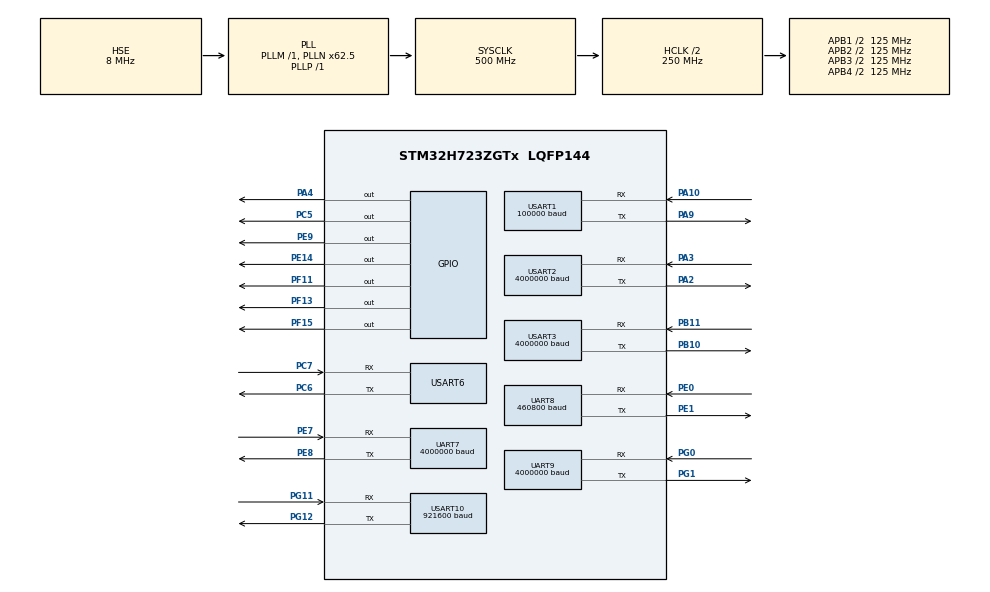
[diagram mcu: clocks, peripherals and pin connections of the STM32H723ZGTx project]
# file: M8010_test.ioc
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CORTEX_M7.default_mode_Activation=1
Dma.Request0=USART3_RX
Dma.Request1=USART3_TX
Dma.Request10=USART1_RX
Dma.Request11=USART1_TX
Dma.Request12=UART8_RX
Dma.Request13=USART10_RX
Dma.Request14=USART10_TX
Dma.Request2=USART2_RX
Dma.Request3=USART2_TX
Dma.Request4=UART9_RX
Dma.Request5=UART9_TX
Dma.Request6=UART7_RX
Dma.Request7=UART7_TX
Dma.Request8=USART6_RX
Dma.Request9=USART6_TX
Dma.UART7_RX.6.Direction=DMA_PERIPH_TO_MEMORY
Dma.UART7_RX.6.EventEnable=DISABLE
Dma.UART7_RX.6.FIFOMode=DMA_FIFOMODE_DISABLE
Dma.UART7_RX.6.Instance=DMA1_Stream6
Dma.UART7_RX.6.MemDataAlignment=DMA_MDATAALIGN_BYTE
Dma.UART7_RX.6.MemInc=DMA_MINC_ENABLE
Dma.UART7_RX.6.Mode=DMA_NORMAL
Dma.UART7_RX.6.PeriphDataAlignment=DMA_PDATAALIGN_BYTE
Dma.UART7_RX.6.PeriphInc=DMA_PINC_DISABLE
Dma.UART7_RX.6.Polarity=HAL_DMAMUX_REQ_GEN_RISING
Dma.UART7_RX.6.Priority=DMA_PRIORITY_LOW
Dma.UART7_RX.6.RequestNumber=1
Dma.UART7_RX.6.SignalID=NONE
Dma.UART7_RX.6.SyncEnable=DISABLE
Dma.UART7_RX.6.SyncPolarity=HAL_DMAMUX_SYNC_NO_EVENT
Dma.UART7_RX.6.SyncRequestNumber=1
Dma.UART7_RX.6.SyncSignalID=NONE
Dma.UART7_TX.7.Direction=DMA_MEMORY_TO_PERIPH
Dma.UART7_TX.7.EventEnable=DISABLE
Dma.UART7_TX.7.FIFOMode=DMA_FIFOMODE_DISABLE
Dma.UART7_TX.7.Instance=DMA1_Stream7
Dma.UART7_TX.7.MemDataAlignment=DMA_MDATAALIGN_BYTE
Dma.UART7_TX.7.MemInc=DMA_MINC_ENABLE
Dma.UART7_TX.7.Mode=DMA_NORMAL
Dma.UART7_TX.7.PeriphDataAlignment=DMA_PDATAALIGN_BYTE
Dma.UART7_TX.7.PeriphInc=DMA_PINC_DISABLE
Dma.UART7_TX.7.Polarity=HAL_DMAMUX_REQ_GEN_RISING
Dma.UART7_TX.7.Priority=DMA_PRIORITY_LOW
Dma.UART7_TX.7.RequestNumber=1
Dma.UART7_TX.7.SignalID=NONE
Dma.UART7_TX.7.SyncEnable=DISABLE
Dma.UART7_TX.7.SyncPolarity=HAL_DMAMUX_SYNC_NO_EVENT
Dma.UART7_TX.7.SyncRequestNumber=1
Dma.UART7_TX.7.SyncSignalID=NONE
Dma.UART8_RX.12.Direction=DMA_PERIPH_TO_MEMORY
Dma.UART8_RX.12.EventEnable=DISABLE
Dma.UART8_RX.12.FIFOMode=DMA_FIFOMODE_DISABLE
Dma.UART8_RX.12.Instance=DMA2_Stream4
Dma.UART8_RX.12.MemDataAlignment=DMA_MDATAALIGN_BYTE
Dma.UART8_RX.12.MemInc=DMA_MINC_ENABLE
Dma.UART8_RX.12.Mode=DMA_NORMAL
Dma.UART8_RX.12.PeriphDataAlignment=DMA_PDATAALIGN_BYTE
Dma.UART8_RX.12.PeriphInc=DMA_PINC_DISABLE
Dma.UART8_RX.12.Polarity=HAL_DMAMUX_REQ_GEN_RISING
Dma.UART8_RX.12.Priority=DMA_PRIORITY_LOW
Dma.UART8_RX.12.RequestNumber=1
Dma.UART8_RX.12.SignalID=NONE
Dma.UART8_RX.12.SyncEnable=DISABLE
Dma.UART8_RX.12.SyncPolarity=HAL_DMAMUX_SYNC_NO_EVENT
Dma.UART8_RX.12.SyncRequestNumber=1
Dma.UART8_RX.12.SyncSignalID=NONE
Dma.UART9_RX.4.Direction=DMA_PERIPH_TO_MEMORY
Dma.UART9_RX.4.EventEnable=DISABLE
Dma.UART9_RX.4.FIFOMode=DMA_FIFOMODE_DISABLE
Dma.UART9_RX.4.Instance=DMA1_Stream4
Dma.UART9_RX.4.MemDataAlignment=DMA_MDATAALIGN_BYTE
Dma.UART9_RX.4.MemInc=DMA_MINC_ENABLE
Dma.UART9_RX.4.Mode=DMA_NORMAL
Dma.UART9_RX.4.PeriphDataAlignment=DMA_PDATAALIGN_BYTE
Dma.UART9_RX.4.PeriphInc=DMA_PINC_DISABLE
Dma.UART9_RX.4.Polarity=HAL_DMAMUX_REQ_GEN_RISING
Dma.UART9_RX.4.Priority=DMA_PRIORITY_LOW
Dma.UART9_RX.4.RequestNumber=1
Dma.UART9_RX.4.SignalID=NONE
Dma.UART9_RX.4.SyncEnable=DISABLE
Dma.UART9_RX.4.SyncPolarity=HAL_DMAMUX_SYNC_NO_EVENT
Dma.UART9_RX.4.SyncRequestNumber=1
Dma.UART9_RX.4.SyncSignalID=NONE
Dma.UART9_TX.5.Direction=DMA_MEMORY_TO_PERIPH
Dma.UART9_TX.5.EventEnable=DISABLE
Dma.UART9_TX.5.FIFOMode=DMA_FIFOMODE_DISABLE
Dma.UART9_TX.5.Instance=DMA1_Stream5
Dma.UART9_TX.5.MemDataAlignment=DMA_MDATAALIGN_BYTE
Dma.UART9_TX.5.MemInc=DMA_MINC_ENABLE
Dma.UART9_TX.5.Mode=DMA_NORMAL
Dma.UART9_TX.5.PeriphDataAlignment=DMA_PDATAALIGN_BYTE
Dma.UART9_TX.5.PeriphInc=DMA_PINC_DISABLE
Dma.UART9_TX.5.Polarity=HAL_DMAMUX_REQ_GEN_RISING
Dma.UART9_TX.5.Priority=DMA_PRIORITY_LOW
Dma.UART9_TX.5.RequestNumber=1
Dma.UART9_TX.5.SignalID=NONE
Dma.UART9_TX.5.SyncEnable=DISABLE
Dma.UART9_TX.5.SyncPolarity=HAL_DMAMUX_SYNC_NO_EVENT
Dma.UART9_TX.5.SyncRequestNumber=1
Dma.UART9_TX.5.SyncSignalID=NONE
Dma.USART10_RX.13.Direction=DMA_PERIPH_TO_MEMORY
Dma.USART10_RX.13.EventEnable=DISABLE
Dma.USART10_RX.13.FIFOMode=DMA_FIFOMODE_DISABLE
Dma.USART10_RX.13.Instance=DMA2_Stream5
Dma.USART10_RX.13.MemDataAlignment=DMA_MDATAALIGN_BYTE
Dma.USART10_RX.13.MemInc=DMA_MINC_ENABLE
Dma.USART10_RX.13.Mode=DMA_NORMAL
Dma.USART10_RX.13.PeriphDataAlignment=DMA_PDATAALIGN_BYTE
Dma.USART10_RX.13.PeriphInc=DMA_PINC_DISABLE
Dma.USART10_RX.13.Polarity=HAL_DMAMUX_REQ_GEN_RISING
Dma.USART10_RX.13.Priority=DMA_PRIORITY_LOW
Dma.USART10_RX.13.RequestNumber=1
Dma.USART10_RX.13.SignalID=NONE
Dma.USART10_RX.13.SyncEnable=DISABLE
Dma.USART10_RX.13.SyncPolarity=HAL_DMAMUX_SYNC_NO_EVENT
Dma.USART10_RX.13.SyncRequestNumber=1
Dma.USART10_RX.13.SyncSignalID=NONE
Dma.USART10_TX.14.Direction=DMA_MEMORY_TO_PERIPH
Dma.USART10_TX.14.EventEnable=DISABLE
Dma.USART10_TX.14.FIFOMode=DMA_FIFOMODE_DISABLE
Dma.USART10_TX.14.Instance=DMA2_Stream6
Dma.USART10_TX.14.MemDataAlignment=DMA_MDATAALIGN_BYTE
Dma.USART10_TX.14.MemInc=DMA_MINC_ENABLE
Dma.USART10_TX.14.Mode=DMA_NORMAL
Dma.USART10_TX.14.PeriphDataAlignment=DMA_PDATAALIGN_BYTE
Dma.USART10_TX.14.PeriphInc=DMA_PINC_DISABLE
Dma.USART10_TX.14.Polarity=HAL_DMAMUX_REQ_GEN_RISING
Dma.USART10_TX.14.Priority=DMA_PRIORITY_LOW
Dma.USART10_TX.14.RequestNumber=1
Dma.USART10_TX.14.SignalID=NONE
Dma.USART10_TX.14.SyncEnable=DISABLE
Dma.USART10_TX.14.SyncPolarity=HAL_DMAMUX_SYNC_NO_EVENT
Dma.USART10_TX.14.SyncRequestNumber=1
Dma.USART10_TX.14.SyncSignalID=NONE
Dma.USART1_RX.10.Direction=DMA_PERIPH_TO_MEMORY
Dma.USART1_RX.10.EventEnable=DISABLE
Dma.USART1_RX.10.FIFOMode=DMA_FIFOMODE_DISABLE
Dma.USART1_RX.10.Instance=DMA2_Stream2
Dma.USART1_RX.10.MemDataAlignment=DMA_MDATAALIGN_BYTE
Dma.USART1_RX.10.MemInc=DMA_MINC_ENABLE
Dma.USART1_RX.10.Mode=DMA_NORMAL
Dma.USART1_RX.10.PeriphDataAlignment=DMA_PDATAALIGN_BYTE
Dma.USART1_RX.10.PeriphInc=DMA_PINC_DISABLE
Dma.USART1_RX.10.Polarity=HAL_DMAMUX_REQ_GEN_RISING
Dma.USART1_RX.10.Priority=DMA_PRIORITY_LOW
Dma.USART1_RX.10.RequestNumber=1
Dma.USART1_RX.10.SignalID=NONE
Dma.USART1_RX.10.SyncEnable=DISABLE
Dma.USART1_RX.10.SyncPolarity=HAL_DMAMUX_SYNC_NO_EVENT
Dma.USART1_RX.10.SyncRequestNumber=1
Dma.USART1_RX.10.SyncSignalID=NONE
Dma.USART1_TX.11.Direction=DMA_MEMORY_TO_PERIPH
Dma.USART1_TX.11.EventEnable=DISABLE
Dma.USART1_TX.11.FIFOMode=DMA_FIFOMODE_DISABLE
Dma.USART1_TX.11.Instance=DMA2_Stream3
Dma.USART1_TX.11.MemDataAlignment=DMA_MDATAALIGN_BYTE
Dma.USART1_TX.11.MemInc=DMA_MINC_ENABLE
Dma.USART1_TX.11.Mode=DMA_NORMAL
Dma.USART1_TX.11.PeriphDataAlignment=DMA_PDATAALIGN_BYTE
Dma.USART1_TX.11.PeriphInc=DMA_PINC_DISABLE
Dma.USART1_TX.11.Polarity=HAL_DMAMUX_REQ_GEN_RISING
Dma.USART1_TX.11.Priority=DMA_PRIORITY_LOW
Dma.USART1_TX.11.RequestNumber=1
Dma.USART1_TX.11.SignalID=NONE
Dma.USART1_TX.11.SyncEnable=DISABLE
Dma.USART1_TX.11.SyncPolarity=HAL_DMAMUX_SYNC_NO_EVENT
Dma.USART1_TX.11.SyncRequestNumber=1
Dma.USART1_TX.11.SyncSignalID=NONE
Dma.USART2_RX.2.Direction=DMA_PERIPH_TO_MEMORY
Dma.USART2_RX.2.EventEnable=DISABLE
Dma.USART2_RX.2.FIFOMode=DMA_FIFOMODE_DISABLE
Dma.USART2_RX.2.Instance=DMA1_Stream2
Dma.USART2_RX.2.MemDataAlignment=DMA_MDATAALIGN_BYTE
Dma.USART2_RX.2.MemInc=DMA_MINC_ENABLE
Dma.USART2_RX.2.Mode=DMA_NORMAL
Dma.USART2_RX.2.PeriphDataAlignment=DMA_PDATAALIGN_BYTE
Dma.USART2_RX.2.PeriphInc=DMA_PINC_DISABLE
Dma.USART2_RX.2.Polarity=HAL_DMAMUX_REQ_GEN_RISING
Dma.USART2_RX.2.Priority=DMA_PRIORITY_LOW
Dma.USART2_RX.2.RequestNumber=1
Dma.USART2_RX.2.SignalID=NONE
Dma.USART2_RX.2.SyncEnable=DISABLE
Dma.USART2_RX.2.SyncPolarity=HAL_DMAMUX_SYNC_NO_EVENT
Dma.USART2_RX.2.SyncRequestNumber=1
Dma.USART2_RX.2.SyncSignalID=NONE
Dma.USART2_TX.3.Direction=DMA_MEMORY_TO_PERIPH
Dma.USART2_TX.3.EventEnable=DISABLE
Dma.USART2_TX.3.FIFOMode=DMA_FIFOMODE_DISABLE
Dma.USART2_TX.3.Instance=DMA1_Stream3
Dma.USART2_TX.3.MemDataAlignment=DMA_MDATAALIGN_BYTE
Dma.USART2_TX.3.MemInc=DMA_MINC_ENABLE
Dma.USART2_TX.3.Mode=DMA_NORMAL
Dma.USART2_TX.3.PeriphDataAlignment=DMA_PDATAALIGN_BYTE
Dma.USART2_TX.3.PeriphInc=DMA_PINC_DISABLE
Dma.USART2_TX.3.Polarity=HAL_DMAMUX_REQ_GEN_RISING
Dma.USART2_TX.3.Priority=DMA_PRIORITY_LOW
Dma.USART2_TX.3.RequestNumber=1
Dma.USART2_TX.3.SignalID=NONE
Dma.USART2_TX.3.SyncEnable=DISABLE
Dma.USART2_TX.3.SyncPolarity=HAL_DMAMUX_SYNC_NO_EVENT
Dma.USART2_TX.3.SyncRequestNumber=1
Dma.USART2_TX.3.SyncSignalID=NONE
Dma.USART3_RX.0.Direction=DMA_PERIPH_TO_MEMORY
Dma.USART3_RX.0.EventEnable=DISABLE
Dma.USART3_RX.0.FIFOMode=DMA_FIFOMODE_DISABLE
Dma.USART3_RX.0.Instance=DMA1_Stream0
Dma.USART3_RX.0.MemDataAlignment=DMA_MDATAALIGN_BYTE
Dma.USART3_RX.0.MemInc=DMA_MINC_ENABLE
Dma.USART3_RX.0.Mode=DMA_NORMAL
Dma.USART3_RX.0.PeriphDataAlignment=DMA_PDATAALIGN_BYTE
Dma.USART3_RX.0.PeriphInc=DMA_PINC_DISABLE
Dma.USART3_RX.0.Polarity=HAL_DMAMUX_REQ_GEN_RISING
Dma.USART3_RX.0.Priority=DMA_PRIORITY_LOW
Dma.USART3_RX.0.RequestNumber=1
Dma.USART3_RX.0.SignalID=NONE
Dma.USART3_RX.0.SyncEnable=DISABLE
Dma.USART3_RX.0.SyncPolarity=HAL_DMAMUX_SYNC_NO_EVENT
Dma.USART3_RX.0.SyncRequestNumber=1
Dma.USART3_RX.0.SyncSignalID=NONE
Dma.USART3_TX.1.Direction=DMA_MEMORY_TO_PERIPH
Dma.USART3_TX.1.EventEnable=DISABLE
Dma.USART3_TX.1.FIFOMode=DMA_FIFOMODE_DISABLE
Dma.USART3_TX.1.Instance=DMA1_Stream1
Dma.USART3_TX.1.MemDataAlignment=DMA_MDATAALIGN_BYTE
Dma.USART3_TX.1.MemInc=DMA_MINC_ENABLE
Dma.USART3_TX.1.Mode=DMA_NORMAL
Dma.USART3_TX.1.PeriphDataAlignment=DMA_PDATAALIGN_BYTE
Dma.USART3_TX.1.PeriphInc=DMA_PINC_DISABLE
Dma.USART3_TX.1.Polarity=HAL_DMAMUX_REQ_GEN_RISING
Dma.USART3_TX.1.Priority=DMA_PRIORITY_LOW
Dma.USART3_TX.1.RequestNumber=1
Dma.USART3_TX.1.SignalID=NONE
Dma.USART3_TX.1.SyncEnable=DISABLE
Dma.USART3_TX.1.SyncPolarity=HAL_DMAMUX_SYNC_NO_EVENT
Dma.USART3_TX.1.SyncRequestNumber=1
Dma.USART3_TX.1.SyncSignalID=NONE
Dma.USART6_RX.8.Direction=DMA_PERIPH_TO_MEMORY
Dma.USART6_RX.8.EventEnable=DISABLE
Dma.USART6_RX.8.FIFOMode=DMA_FIFOMODE_DISABLE
Dma.USART6_RX.8.Instance=DMA2_Stream0
Dma.USART6_RX.8.MemDataAlignment=DMA_MDATAALIGN_BYTE
Dma.USART6_RX.8.MemInc=DMA_MINC_ENABLE
Dma.USART6_RX.8.Mode=DMA_NORMAL
Dma.USART6_RX.8.PeriphDataAlignment=DMA_PDATAALIGN_BYTE
Dma.USART6_RX.8.PeriphInc=DMA_PINC_DISABLE
Dma.USART6_RX.8.Polarity=HAL_DMAMUX_REQ_GEN_RISING
Dma.USART6_RX.8.Priority=DMA_PRIORITY_LOW
Dma.USART6_RX.8.RequestNumber=1
Dma.USART6_RX.8.SignalID=NONE
Dma.USART6_RX.8.SyncEnable=DISABLE
Dma.USART6_RX.8.SyncPolarity=HAL_DMAMUX_SYNC_NO_EVENT
Dma.USART6_RX.8.SyncRequestNumber=1
Dma.USART6_RX.8.SyncSignalID=NONE
Dma.USART6_TX.9.Direction=DMA_MEMORY_TO_PERIPH
Dma.USART6_TX.9.EventEnable=DISABLE
Dma.USART6_TX.9.FIFOMode=DMA_FIFOMODE_DISABLE
Dma.USART6_TX.9.Instance=DMA2_Stream1
Dma.USART6_TX.9.MemDataAlignment=DMA_MDATAALIGN_BYTE
Dma.USART6_TX.9.MemInc=DMA_MINC_ENABLE
Dma.USART6_TX.9.Mode=DMA_NORMAL
Dma.USART6_TX.9.PeriphDataAlignment=DMA_PDATAALIGN_BYTE
Dma.USART6_TX.9.PeriphInc=DMA_PINC_DISABLE
Dma.USART6_TX.9.Polarity=HAL_DMAMUX_REQ_GEN_RISING
Dma.USART6_TX.9.Priority=DMA_PRIORITY_LOW
Dma.USART6_TX.9.RequestNumber=1
Dma.USART6_TX.9.SignalID=NONE
Dma.USART6_TX.9.SyncEnable=DISABLE
Dma.USART6_TX.9.SyncPolarity=HAL_DMAMUX_SYNC_NO_EVENT
Dma.USART6_TX.9.SyncRequestNumber=1
Dma.USART6_TX.9.SyncSignalID=NONE
FREERTOS.Tasks01=defaultTask,0,768,motor,Default,NULL,Dynamic,NULL,NULL;myTask02,-3,128,vofa,Default,NULL,Dynamic,NULL,NULL;myTask03,-3,128,calculate,Default,NULL,Dynamic,NULL,NULL;myTask04,-1,512,motorsend,Default,NULL,Dynamic,NULL,NULL;myTask05,-1,128,pc,Default,NULL,Dynamic,NULL,NULL
Mcu.Family=STM32H7
Mcu.Name=STM32H723ZGTx
Mcu.Package=LQFP144
NVIC.DMA1_Stream0_IRQn=true\:5\:0\:false\:false\:true\:true\:false\:true\:true
NVIC.DMA1_Stream1_IRQn=true\:5\:0\:false\:false\:true\:true\:false\:true\:true
NVIC.DMA1_Stream2_IRQn=true\:5\:0\:false\:false\:true\:true\:false\:true\:true
NVIC.DMA1_Stream3_IRQn=true\:5\:0\:false\:false\:true\:true\:false\:true\:true
NVIC.DMA1_Stream4_IRQn=true\:5\:0\:false\:false\:true\:true\:false\:true\:true
NVIC.DMA1_Stream5_IRQn=true\:5\:0\:false\:false\:true\:true\:false\:true\:true
NVIC.DMA1_Stream6_IRQn=true\:5\:0\:false\:false\:true\:true\:false\:true\:true
NVIC.DMA1_Stream7_IRQn=true\:5\:0\:false\:false\:true\:true\:false\:true\:true
NVIC.DMA2_Stream0_IRQn=true\:5\:0\:false\:false\:true\:true\:false\:true\:true
NVIC.DMA2_Stream1_IRQn=true\:5\:0\:false\:false\:true\:true\:false\:true\:true
NVIC.DMA2_Stream2_IRQn=true\:5\:0\:false\:false\:true\:true\:false\:true\:true
NVIC.DMA2_Stream3_IRQn=true\:5\:0\:false\:false\:true\:true\:false\:true\:true
NVIC.DMA2_Stream4_IRQn=true\:5\:0\:false\:false\:true\:true\:false\:true\:true
NVIC.DMA2_Stream5_IRQn=true\:5\:0\:false\:false\:true\:true\:false\:true\:true
NVIC.DMA2_Stream6_IRQn=true\:5\:0\:false\:false\:true\:true\:false\:true\:true
NVIC.PriorityGroup=NVIC_PRIORITYGROUP_4
NVIC.TIM23_IRQn=true\:15\:0\:false\:false\:true\:false\:false\:true\:true
NVIC.TimeBase=TIM23_IRQn
NVIC.TimeBaseIP=TIM23
NVIC.UART7_IRQn=true\:5\:0\:false\:false\:true\:true\:true\:true\:true
NVIC.UART8_IRQn=true\:5\:0\:false\:false\:true\:true\:true\:true\:true
NVIC.UART9_IRQn=true\:5\:0\:false\:false\:true\:true\:true\:true\:true
NVIC.USART10_IRQn=true\:5\:0\:false\:false\:true\:true\:true\:true\:true
NVIC.USART1_IRQn=true\:5\:0\:false\:false\:true\:true\:true\:true\:true
NVIC.USART2_IRQn=true\:5\:0\:false\:false\:true\:true\:true\:true\:true
NVIC.USART3_IRQn=true\:5\:0\:false\:false\:true\:true\:true\:true\:true
NVIC.USART6_IRQn=true\:5\:0\:false\:false\:true\:true\:true\:true\:true
PA10.Mode=Asynchronous
PA10.Signal=USART1_RX
PA13(JTMS/SWDIO).Mode=Serial_Wire
PA13(JTMS/SWDIO).Signal=DEBUG_JTMS-SWDIO
PA14(JTCK/SWCLK).Mode=Serial_Wire
PA14(JTCK/SWCLK).Signal=DEBUG_JTCK-SWCLK
PA2.Mode=Asynchronous
PA2.Signal=USART2_TX
PA3.Mode=Asynchronous
PA3.Signal=USART2_RX
PA4.Signal=GPIO_Output
PA9.Mode=Asynchronous
PA9.Signal=USART1_TX
PB10.Mode=Asynchronous
PB10.Signal=USART3_TX
PB11.Mode=Asynchronous
PB11.Signal=USART3_RX
PC14-OSC32_IN.Mode=LSE-External-Oscillator
PC14-OSC32_IN.Signal=RCC_OSC32_IN
PC15-OSC32_OUT.Mode=LSE-External-Oscillator
PC15-OSC32_OUT.Signal=RCC_OSC32_OUT
PC5.Signal=GPIO_Output
PC6.Mode=Asynchronous
PC6.Signal=USART6_TX
PC7.Mode=Asynchronous
PC7.Signal=USART6_RX
PE0.Mode=Asynchronous
PE0.Signal=UART8_RX
PE1.Mode=Asynchronous
PE1.Signal=UART8_TX
PE14.Signal=GPIO_Output
PE7.Mode=Asynchronous
PE7.Signal=UART7_RX
PE8.Mode=Asynchronous
PE8.Signal=UART7_TX
PE9.Signal=GPIO_Output
PF11.Signal=GPIO_Output
PF13.Signal=GPIO_Output
PF15.Signal=GPIO_Output
PG0.Mode=Asynchronous
PG0.Signal=UART9_RX
PG1.Mode=Asynchronous
PG1.Signal=UART9_TX
PG11.Mode=Asynchronous
PG11.Signal=USART10_RX
PG12.Mode=Asynchronous
PG12.Signal=USART10_TX
PH0-OSC_IN.Mode=HSE-External-Oscillator
PH0-OSC_IN.Signal=RCC_OSC_IN
PH1-OSC_OUT.Mode=HSE-External-Oscillator
PH1-OSC_OUT.Signal=RCC_OSC_OUT
ProjectManager.HeapSize=0x200
ProjectManager.StackSize=0x400
ProjectManager.TargetToolchain=MDK-ARM V5.32
RCC.ADCFreq_Value=16125000
RCC.APB1Freq_Value=125000000
RCC.APB2Freq_Value=125000000
RCC.APB3Freq_Value=125000000
RCC.APB4Freq_Value=125000000
RCC.CortexFreq_Value=500000000
RCC.D1PPRE=RCC_APB3_DIV2
RCC.D2PPRE1=RCC_APB1_DIV2
RCC.D2PPRE2=RCC_APB2_DIV2
RCC.D3PPRE=RCC_APB4_DIV2
RCC.DIVM1=1
RCC.DIVN1=62
RCC.DIVP1=1
RCC.HCLKFreq_Value=250000000
RCC.HPRE=RCC_HCLK_DIV2
RCC.HSE_VALUE=8000000
RCC.PLL2FRACN=0
RCC.PLL3FRACN=0
RCC.PLLFRACN=4096
RCC.PLLSourceVirtual=RCC_PLLSOURCE_HSE
RCC.SYSCLKFreq_VALUE=500000000
RCC.SYSCLKSource=RCC_SYSCLKSOURCE_PLLCLK
RCC.USBFreq_Value=250000000
UART7.BaudRate=4000000
UART8.BaudRate=460800
UART9.BaudRate=4000000
USART1.BaudRate=100000
USART1.Parity=PARITY_EVEN
USART1.RxPinLevelInvertParam=ADVFEATURE_RXINV_ENABLE
USART1.StopBits=STOPBITS_2
USART1.TxPinLevelInvertParam=ADVFEATURE_TXINV_ENABLE
USART1.VirtualMode-Asynchronous=VM_ASYNC
USART1.WordLength=WORDLENGTH_9B
USART10.BaudRate=921600
USART10.VirtualMode-Asynchronous=VM_ASYNC
USART2.BaudRate=4000000
USART2.VirtualMode-Asynchronous=VM_ASYNC
USART3.BaudRate=4000000
USART3.VirtualMode-Asynchronous=VM_ASYNC
USART6.VirtualMode-Asynchronous=VM_ASYNC
VP_FREERTOS_VS_CMSIS_V1.Mode=CMSIS_V1
VP_MEMORYMAP_VS_MEMORYMAP.Mode=CurAppReg
VP_SYS_VS_tim23.Mode=TIM23
board=custom

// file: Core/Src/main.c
/* USER CODE BEGIN Header */
/**
  ******************************************************************************
  * @file           : main.c
  * @brief          : Main program body
  ******************************************************************************
  * @attention
  *
  * Copyright (c) 2026 STMicroelectronics.
  * All rights reserved.
  *
  * This software is licensed under terms that can be found in the LICENSE file
  * in the root directory of this software component.
  * If no LICENSE file comes with this software, it is provided AS-IS.
  *
  ******************************************************************************
  */
/* USER CODE END Header */
#include "main.h"
#include "cmsis_os.h"
#include "dma.h"
#include "memorymap.h"
#include "usart.h"
#include "gpio.h"

/* USER CODE BEGIN Includes */
#include "app_robot.h"
/* USER CODE END Includes */

void SystemClock_Config(void);
static void MPU_Config(void);
void MX_FREERTOS_Init(void);

int main(void)
{

  /* MPU Configuration--------------------------------------------------------*/
  MPU_Config();

  /* MCU Configuration--------------------------------------------------------*/

  /* Reset of all peripherals, Initializes the Flash interface and the Systick. */
  HAL_Init();

  /* Configure the system clock */
  SystemClock_Config();

  /* Initialize all configured peripherals */
  MX_GPIO_Init();
  MX_DMA_Init();
  MX_UART7_Init();
  MX_UART9_Init();
  MX_USART2_UART_Init();
  MX_USART3_UART_Init();
  MX_USART6_UART_Init();
  MX_USART1_UART_Init();
  MX_UART8_Init();
  MX_USART10_UART_Init();
  /* USER CODE BEGIN 2 */
  App_Robot_Init();
  /* USER CODE END 2 */

  /* Call init function for freertos objects (in cmsis_os2.c) */
  MX_FREERTOS_Init();

  /* Start scheduler */
  osKernelStart();

  /* We should never get here as control is now taken by the scheduler */

  /* Infinite loop */
  while (1)
  {

    /* USER CODE BEGIN 3 */
    //modify_data(&cmd);
    //4
    // HAL_GPIO_WritePin(GPIOE, GPIO_PIN_9, GPIO_PIN_SET); // 发�?�前拉高PB0 供示波器测量通信频率
    // tx_res = HAL_UART_Transmit(&huart7, (uint8_t *)&cmd.motor_send_data, sizeof(RIS_ControlData_t), 100);
    // HAL_GPIO_WritePin(GPIOE, GPIO_PIN_9, GPIO_PIN_RESET);
    // rx_res = HAL_UART_Receive(&huart7, (uint8_t *)&data.motor_recv_data, sizeof(RIS_MotorData_t), 100);
    //3
    // HAL_GPIO_WritePin(GPIOA, GPIO_PIN_4, GPIO_PIN_SET); // 发�?�前拉高PB0 供示波器测量通信频率
    // tx_res = HAL_UART_Transmit(&huart2, (uint8_t *)&cmd.motor_send_data, sizeof(RIS_ControlData_t), 100);
    // HAL_GPIO_WritePin(GPIOA, GPIO_PIN_4, GPIO_PIN_RESET);
    // rx_res = HAL_UART_Receive(&huart2, (uint8_t *)&data.motor_recv_data, sizeof(RIS_MotorData_t), 100);

    //1
    // HAL_GPIO_WritePin(GPIOC, GPIO_PIN_5, GPIO_PIN_SET); // 发�?�前拉高PB0 供示波器测量通信频率
    // tx_res = HAL_UART_Transmit(&huart9, (uint8_t *)&cmd.motor_send_data, sizeof(RIS_ControlData_t), 100);
    // HAL_GPIO_WritePin(GPIOC, GPIO_PIN_5, GPIO_PIN_RESET);
    // rx_res = HAL_UART_Receive(&huart9, (uint8_t *)&data.motor_recv_data, sizeof(RIS_MotorData_t), 100);
    //2
    // HAL_GPIO_WritePin(GPIOE, GPIO_PIN_14, GPIO_PIN_SET); // 发�?�前拉高PB0 供示波器测量通信频率
    // tx_res = HAL_UART_Transmit(&huart3, (uint8_t *)&cmd.motor_send_data, sizeof(RIS_ControlData_t), 100);
    // HAL_GPIO_WritePin(GPIOE, GPIO_PIN_14, GPIO_PIN_RESET);
    // rx_res = HAL_UART_Receive(&huart3, (uint8_t *)&data.motor_recv_data, sizeof(RIS_MotorData_t), 100);
  }
  /* USER CODE END 3 */
}

void SystemClock_Config(void)
{
  RCC_OscInitTypeDef RCC_OscInitStruct = {0};
  RCC_ClkInitTypeDef RCC_ClkInitStruct = {0};

  /** Supply configuration update enable
  */
  HAL_PWREx_ConfigSupply(PWR_LDO_SUPPLY);

  /** Configure the main internal regulator output voltage
  */
  __HAL_PWR_VOLTAGESCALING_CONFIG(PWR_REGULATOR_VOLTAGE_SCALE0);

  while(!__HAL_PWR_GET_FLAG(PWR_FLAG_VOSRDY)) {}

  /** Initializes the RCC Oscillators according to the specified parameters
  * in the RCC_OscInitTypeDef structure.
  */
  RCC_OscInitStruct.OscillatorType = RCC_OSCILLATORTYPE_HSE;
  RCC_OscInitStruct.HSEState = RCC_HSE_ON;
  RCC_OscInitStruct.PLL.PLLState = RCC_PLL_ON;
  RCC_OscInitStruct.PLL.PLLSource = RCC_PLLSOURCE_HSE;
  RCC_OscInitStruct.PLL.PLLM = 1;
  RCC_OscInitStruct.PLL.PLLN = 62;
  RCC_OscInitStruct.PLL.PLLP = 1;
  RCC_OscInitStruct.PLL.PLLQ = 2;
  RCC_OscInitStruct.PLL.PLLR = 2;
  RCC_OscInitStruct.PLL.PLLRGE = RCC_PLL1VCIRANGE_3;
  RCC_OscInitStruct.PLL.PLLVCOSEL = RCC_PLL1VCOWIDE;
  RCC_OscInitStruct.PLL.PLLFRACN = 4096;
  if (HAL_RCC_OscConfig(&RCC_OscInitStruct) != HAL_OK)
  {
    Error_Handler();
  }

  /** Initializes the CPU, AHB and APB buses clocks
  */
  RCC_ClkInitStruct.ClockType = RCC_CLOCKTYPE_HCLK|RCC_CLOCKTYPE_SYSCLK
                              |RCC_CLOCKTYPE_PCLK1|RCC_CLOCKTYPE_PCLK2
                              |RCC_CLOCKTYPE_D3PCLK1|RCC_CLOCKTYPE_D1PCLK1;
  RCC_ClkInitStruct.SYSCLKSource = RCC_SYSCLKSOURCE_PLLCLK;
  RCC_ClkInitStruct.SYSCLKDivider = RCC_SYSCLK_DIV1;
  RCC_ClkInitStruct.AHBCLKDivider = RCC_HCLK_DIV2;
  RCC_ClkInitStruct.APB3CLKDivider = RCC_APB3_DIV2;
  RCC_ClkInitStruct.APB1CLKDivider = RCC_APB1_DIV2;
  RCC_ClkInitStruct.APB2CLKDivider = RCC_APB2_DIV2;
  RCC_ClkInitStruct.APB4CLKDivider = RCC_APB4_DIV2;

  if (HAL_RCC_ClockConfig(&RCC_ClkInitStruct, FLASH_LATENCY_3) != HAL_OK)
  {
    Error_Handler();
  }
}

 /* MPU Configuration */

void MPU_Config(void)
{
  MPU_Region_InitTypeDef MPU_InitStruct = {0};

  /* Disables the MPU */
  HAL_MPU_Disable();

  /** Initializes and configures the Region and the memory to be protected
  */
  MPU_InitStruct.Enable = MPU_REGION_ENABLE;
  MPU_InitStruct.Number = MPU_REGION_NUMBER0;
  MPU_InitStruct.BaseAddress = 0x0;
  MPU_InitStruct.Size = MPU_REGION_SIZE_4GB;
  MPU_InitStruct.SubRegionDisable = 0x87;
  MPU_InitStruct.TypeExtField = MPU_TEX_LEVEL0;
  MPU_InitStruct.AccessPermission = MPU_REGION_NO_ACCESS;
  MPU_InitStruct.DisableExec = MPU_INSTRUCTION_ACCESS_DISABLE;
  MPU_InitStruct.IsShareable = MPU_ACCESS_SHAREABLE;
  MPU_InitStruct.IsCacheable = MPU_ACCESS_NOT_CACHEABLE;
  MPU_InitStruct.IsBufferable = MPU_ACCESS_NOT_BUFFERABLE;

  HAL_MPU_ConfigRegion(&MPU_InitStruct);
  /* Enables the MPU */
  HAL_MPU_Enable(MPU_PRIVILEGED_DEFAULT);

}

void HAL_TIM_PeriodElapsedCallback(TIM_HandleTypeDef *htim)
{
  if (htim->Instance == TIM23) {
    HAL_IncTick();
  }
}

void Error_Handler(void)
{
  __disable_irq();
  while (1)
  {
  }
}

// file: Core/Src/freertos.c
/* USER CODE BEGIN Header */
/**
 ******************************************************************************
 * File Name          : freertos.c
 * Description        : Code for freertos applications
 ******************************************************************************
 * @attention
 *
 * Copyright (c) 2026 STMicroelectronics.
 * All rights reserved.
 *
 * This software is licensed under terms that can be found in the LICENSE file
 * in the root directory of this software component.
 * If no LICENSE file comes with this software, it is provided AS-IS.
 *
 ******************************************************************************
 */
/* USER CODE END Header */

#include "FreeRTOS.h"
#include "task.h"
#include "main.h"
#include "cmsis_os.h"

/* USER CODE BEGIN Includes */
#include "app_robot.h"
#include "M8010.h"
#include "usart.h"
#include "vofa.h"
#include "gait.h"
/* USER CODE END Includes */

osThreadId defaultTaskHandle;
osThreadId myTask02Handle;
osThreadId myTask03Handle;
osThreadId myTask04Handle;
osThreadId myTask05Handle;

/* USER CODE BEGIN FunctionPrototypes */
// int test = 0;
// float test_angle[3] = {-5.15, -0.61, 5.47};
/* USER CODE END FunctionPrototypes */

void motor(void const * argument);
void vofa(void const * argument);
void calculate(void const * argument);
void motorsend(void const * argument);
void pc(void const * argument);

void MX_FREERTOS_Init(void); /* (MISRA C 2004 rule 8.1) */

/* GetIdleTaskMemory prototype (linked to static allocation support) */
void vApplicationGetIdleTaskMemory( StaticTask_t **ppxIdleTaskTCBBuffer, StackType_t **ppxIdleTaskStackBuffer, uint32_t *pulIdleTaskStackSize );

/* USER CODE BEGIN GET_IDLE_TASK_MEMORY */
static StaticTask_t xIdleTaskTCBBuffer;
static StackType_t xIdleStack[configMINIMAL_STACK_SIZE];

void vApplicationGetIdleTaskMemory(StaticTask_t **ppxIdleTaskTCBBuffer, StackType_t **ppxIdleTaskStackBuffer, uint32_t *pulIdleTaskStackSize)
{
  *ppxIdleTaskTCBBuffer = &xIdleTaskTCBBuffer;
  *ppxIdleTaskStackBuffer = &xIdleStack[0];
  *pulIdleTaskStackSize = configMINIMAL_STACK_SIZE;
  /* place for user code */
}
/* USER CODE END GET_IDLE_TASK_MEMORY */

void MX_FREERTOS_Init(void) {

  /* Create the thread(s) */
  /* definition and creation of defaultTask */
  osThreadDef(defaultTask, motor, osPriorityNormal, 0, 768);
  defaultTaskHandle = osThreadCreate(osThread(defaultTask), NULL);

  /* definition and creation of myTask02 */
  osThreadDef(myTask02, vofa, osPriorityIdle, 0, 128);
  myTask02Handle = osThreadCreate(osThread(myTask02), NULL);

  /* definition and creation of myTask03 */
  osThreadDef(myTask03, calculate, osPriorityIdle, 0, 128);
  myTask03Handle = osThreadCreate(osThread(myTask03), NULL);

  /* definition and creation of myTask04 */
  osThreadDef(myTask04, motorsend, osPriorityBelowNormal, 0, 512);
  myTask04Handle = osThreadCreate(osThread(myTask04), NULL);

  /* definition and creation of myTask05 */
  osThreadDef(myTask05, pc, osPriorityBelowNormal, 0, 128);
  myTask05Handle = osThreadCreate(osThread(myTask05), NULL);

}

void motor(void const * argument)
{
  /* USER CODE BEGIN motor */
  /*
   * motor 是 1ms 控制任务，只做 PC 通信状态机、状态包节拍、状态机、
   * 轨迹/IK/目标角计算和快照发布，不直接调用 send_data_all()。
   * 当前 FreeRTOSConfig.h 里 INCLUDE_vTaskDelayUntil=0，因此这里先保留
   * CMSIS 的 osDelay(1)；如果后续在 CubeMX 里启用 vTaskDelayUntil，
   * 可以再切到固定唤醒相位的 vTaskDelayUntil()。
   */
  (void)argument;

  /* Infinite loop */
  for (;;)
  {
    App_Robot_Loop1ms();
    osDelay(1);
  }
  /* USER CODE END motor */
}

void vofa(void const * argument)
{
  /* USER CODE BEGIN vofa */
  /* Infinite loop */
  for (;;)
  {
    // App_Robot_Send_Loop();
    App_vofa_Send();
    osDelay(2);
  }
  /* USER CODE END vofa */
}

void calculate(void const * argument)
{
  /* USER CODE BEGIN calculate */
  /* Infinite loop */
  for (;;)
  {
    //不断通过正运动学解出来当前足端位置
    App_UpdateCurrentFootPosFromMotor(legs);
    osDelay(1);
  }
  /* USER CODE END calculate */
}

void motorsend(void const * argument)
{
  /* USER CODE BEGIN motorsend */
  /*
   * motorsend 是唯一允许进入 App_Robot_MotorSendLoop()/send_data_all() 的任务。
   * 发送函数会等待 12 个主电机和额外 ID13 的回包，电机不上电时可能阻塞约 65ms，
   * 所以本任务周期先设为 5ms，且优先级必须低于 motor 控制任务，不能抢占 1ms 控制链路。
   */
  (void)argument;

  /* Infinite loop */
  for(;;)
  {
    App_Robot_MotorSendLoop();
    osDelay(5);
  }
  /* USER CODE END motorsend */
}

void pc(void const * argument)
{
  /* USER CODE BEGIN pc */
  /*
   * PCComm_Task1ms() 和 PCComm_SendState20ms() 已经在 App_Robot_Loop1ms() 中执行。
   * 这个低优先级 pc 任务暂不重复发送 UART10 状态包，避免 g_tx_busy 状态被多任务交叉触发。
   */
  (void)argument;

  /* Infinite loop */
  for(;;)
  {
    osDelay(1);
  }
  /* USER CODE END pc */
}
